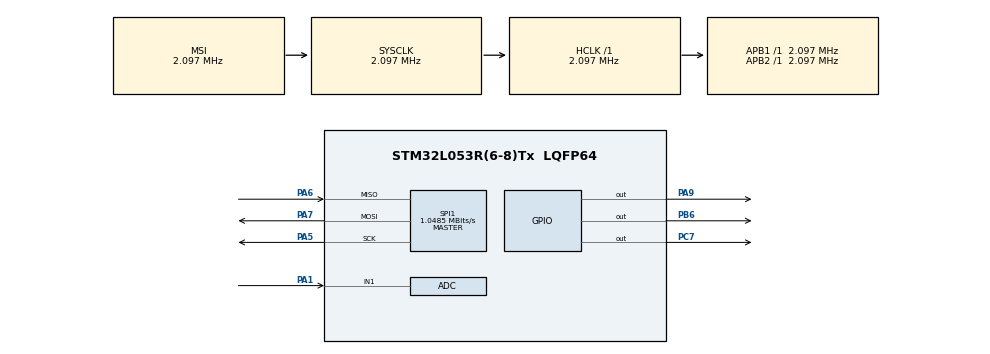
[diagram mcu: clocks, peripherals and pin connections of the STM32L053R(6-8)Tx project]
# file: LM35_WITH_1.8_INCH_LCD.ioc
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Mcu.Family=STM32L0
Mcu.Name=STM32L053R(6-8)Tx
Mcu.Package=LQFP64
PA1.Mode=IN1
PA1.Signal=ADC_IN1
PA13.Mode=Serial_Wire
PA13.Signal=SYS_SWDIO
PA14.Mode=Serial_Wire
PA14.Signal=SYS_SWCLK
PA5.Mode=Full_Duplex_Master
PA5.Signal=SPI1_SCK
PA6.Mode=Full_Duplex_Master
PA6.Signal=SPI1_MISO
PA7.Mode=Full_Duplex_Master
PA7.Signal=SPI1_MOSI
PA9.Signal=GPIO_Output
PB6.Signal=GPIO_Output
PC7.Signal=GPIO_Output
PH0-OSC_IN.Mode=HSE-External-Oscillator
PH0-OSC_IN.Signal=RCC_OSC_IN
PH1-OSC_OUT.Mode=HSE-External-Oscillator
PH1-OSC_OUT.Signal=RCC_OSC_OUT
ProjectManager.HeapSize=0x200
ProjectManager.StackSize=0x400
ProjectManager.TargetToolchain=STM32CubeIDE
RCC.AHBFreq_Value=2097000
RCC.APB1Freq_Value=2097000
RCC.APB1TimFreq_Value=2097000
RCC.APB2Freq_Value=2097000
RCC.APB2TimFreq_Value=2097000
RCC.HSE_VALUE=8000000
RCC.HSI16_VALUE=16000000
RCC.HSI48_VALUE=48000000
RCC.HSI_VALUE=16000000
RCC.LSE_VALUE=32768
RCC.MSI_VALUE=2097000
RCC.SYSCLKFreq_VALUE=2097000
RCC.VCOOutputFreq_Value=48000000
SPI1.CalculateBaudRate=1.0485 MBits/s
SPI1.Direction=SPI_DIRECTION_2LINES
SPI1.Mode=SPI_MODE_MASTER
SPI1.VirtualType=VM_MASTER
board=custom

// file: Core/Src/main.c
/* USER CODE BEGIN Header */
/**
  ******************************************************************************
  * @file           : main.c
  * @brief          : Main program body
  ******************************************************************************
  * @attention
  *
  * Copyright (c) 2023 STMicroelectronics.
  * All rights reserved.
  *
  * This software is licensed under terms that can be found in the LICENSE file
  * in the root directory of this software component.
  * If no LICENSE file comes with this software, it is provided AS-IS.
  *
  ******************************************************************************
  */
/* USER CODE END Header */
#include "main.h"

/* USER CODE BEGIN Includes */
#include "ST7735.h"
#include "GFX_FUNCTIONS.h"
/* USER CODE END Includes */

ADC_HandleTypeDef hadc;

SPI_HandleTypeDef hspi1;

/* USER CODE BEGIN PV */
uint32_t adc_res;
uint32_t tcelsius;
/* USER CODE END PV */

void SystemClock_Config(void);
static void MX_GPIO_Init(void);
static void MX_ADC_Init(void);
static void MX_SPI1_Init(void);

int main(void)
{

  /* MCU Configuration--------------------------------------------------------*/

  /* Reset of all peripherals, Initializes the Flash interface and the Systick. */
  HAL_Init();

  /* Configure the system clock */
  SystemClock_Config();

  /* Initialize all configured peripherals */
  MX_GPIO_Init();
  MX_ADC_Init();
  MX_SPI1_Init();
  /* USER CODE BEGIN 2 */
  ST7735_Init(0);
  fillScreen(YELLOW);
  /* USER CODE END 2 */

  /* Infinite loop */
  while (1)
  {

    /* USER CODE BEGIN 3 */
	          HAL_ADC_Start(&hadc);
	          if(  HAL_ADC_PollForConversion(&hadc, 100)==HAL_OK)
	          {
				  adc_res=HAL_ADC_GetValue(&hadc);
				  tcelsius=100.558-0.187364*adc_res;
				  ST7735_SetRotation(3);
				  char buffer[16];
				  if(tcelsius<=45&&tcelsius>=25)
				  {
				  sprintf(buffer, "Pixel    Temp now: %d'C", tcelsius);
				  ST7735_WriteString(1, 1, &buffer, Font_16x26, BLACK ,YELLOW);
				  }
			   }
  }
  /* USER CODE END 3 */
}

void SystemClock_Config(void)
{
  RCC_OscInitTypeDef RCC_OscInitStruct = {0};
  RCC_ClkInitTypeDef RCC_ClkInitStruct = {0};

  /** Configure the main internal regulator output voltage
  */
  __HAL_PWR_VOLTAGESCALING_CONFIG(PWR_REGULATOR_VOLTAGE_SCALE1);

  /** Initializes the RCC Oscillators according to the specified parameters
  * in the RCC_OscInitTypeDef structure.
  */
  RCC_OscInitStruct.OscillatorType = RCC_OSCILLATORTYPE_MSI;
  RCC_OscInitStruct.MSIState = RCC_MSI_ON;
  RCC_OscInitStruct.MSICalibrationValue = 0;
  RCC_OscInitStruct.MSIClockRange = RCC_MSIRANGE_5;
  RCC_OscInitStruct.PLL.PLLState = RCC_PLL_NONE;
  if (HAL_RCC_OscConfig(&RCC_OscInitStruct) != HAL_OK)
  {
    Error_Handler();
  }

  /** Initializes the CPU, AHB and APB buses clocks
  */
  RCC_ClkInitStruct.ClockType = RCC_CLOCKTYPE_HCLK|RCC_CLOCKTYPE_SYSCLK
                              |RCC_CLOCKTYPE_PCLK1|RCC_CLOCKTYPE_PCLK2;
  RCC_ClkInitStruct.SYSCLKSource = RCC_SYSCLKSOURCE_MSI;
  RCC_ClkInitStruct.AHBCLKDivider = RCC_SYSCLK_DIV1;
  RCC_ClkInitStruct.APB1CLKDivider = RCC_HCLK_DIV1;
  RCC_ClkInitStruct.APB2CLKDivider = RCC_HCLK_DIV1;

  if (HAL_RCC_ClockConfig(&RCC_ClkInitStruct, FLASH_LATENCY_0) != HAL_OK)
  {
    Error_Handler();
  }
}

static void MX_ADC_Init(void)
{

  ADC_ChannelConfTypeDef sConfig = {0};

  /** Configure the global features of the ADC (Clock, Resolution, Data Alignment and number of conversion)
  */
  hadc.Instance = ADC1;
  hadc.Init.OversamplingMode = DISABLE;
  hadc.Init.ClockPrescaler = ADC_CLOCK_SYNC_PCLK_DIV1;
  hadc.Init.Resolution = ADC_RESOLUTION_12B;
  hadc.Init.SamplingTime = ADC_SAMPLETIME_1CYCLE_5;
  hadc.Init.ScanConvMode = ADC_SCAN_DIRECTION_FORWARD;
  hadc.Init.DataAlign = ADC_DATAALIGN_RIGHT;
  hadc.Init.ContinuousConvMode = DISABLE;
  hadc.Init.DiscontinuousConvMode = DISABLE;
  hadc.Init.ExternalTrigConvEdge = ADC_EXTERNALTRIGCONVEDGE_NONE;
  hadc.Init.ExternalTrigConv = ADC_SOFTWARE_START;
  hadc.Init.DMAContinuousRequests = DISABLE;
  hadc.Init.EOCSelection = ADC_EOC_SINGLE_CONV;
  hadc.Init.Overrun = ADC_OVR_DATA_PRESERVED;
  hadc.Init.LowPowerAutoWait = DISABLE;
  hadc.Init.LowPowerFrequencyMode = ENABLE;
  hadc.Init.LowPowerAutoPowerOff = DISABLE;
  if (HAL_ADC_Init(&hadc) != HAL_OK)
  {
    Error_Handler();
  }

  /** Configure for the selected ADC regular channel to be converted.
  */
  sConfig.Channel = ADC_CHANNEL_1;
  sConfig.Rank = ADC_RANK_CHANNEL_NUMBER;
  if (HAL_ADC_ConfigChannel(&hadc, &sConfig) != HAL_OK)
  {
    Error_Handler();
  }

}

static void MX_SPI1_Init(void)
{

  /* SPI1 parameter configuration*/
  hspi1.Instance = SPI1;
  hspi1.Init.Mode = SPI_MODE_MASTER;
  hspi1.Init.Direction = SPI_DIRECTION_2LINES;
  hspi1.Init.DataSize = SPI_DATASIZE_8BIT;
  hspi1.Init.CLKPolarity = SPI_POLARITY_LOW;
  hspi1.Init.CLKPhase = SPI_PHASE_1EDGE;
  hspi1.Init.NSS = SPI_NSS_SOFT;
  hspi1.Init.BaudRatePrescaler = SPI_BAUDRATEPRESCALER_2;
  hspi1.Init.FirstBit = SPI_FIRSTBIT_MSB;
  hspi1.Init.TIMode = SPI_TIMODE_DISABLE;
  hspi1.Init.CRCCalculation = SPI_CRCCALCULATION_DISABLE;
  hspi1.Init.CRCPolynomial = 7;
  if (HAL_SPI_Init(&hspi1) != HAL_OK)
  {
    Error_Handler();
  }

}

static void MX_GPIO_Init(void)
{
  GPIO_InitTypeDef GPIO_InitStruct = {0};

  /* GPIO Ports Clock Enable */
  __HAL_RCC_GPIOH_CLK_ENABLE();
  __HAL_RCC_GPIOA_CLK_ENABLE();
  __HAL_RCC_GPIOC_CLK_ENABLE();
  __HAL_RCC_GPIOB_CLK_ENABLE();

  /*Configure GPIO pin Output Level */
  HAL_GPIO_WritePin(GPIOC, GPIO_PIN_7, GPIO_PIN_RESET);

  /*Configure GPIO pin Output Level */
  HAL_GPIO_WritePin(GPIOA, GPIO_PIN_9, GPIO_PIN_RESET);

  /*Configure GPIO pin Output Level */
  HAL_GPIO_WritePin(GPIOB, GPIO_PIN_6, GPIO_PIN_RESET);

  /*Configure GPIO pin : PC7 */
  GPIO_InitStruct.Pin = GPIO_PIN_7;
  GPIO_InitStruct.Mode = GPIO_MODE_OUTPUT_PP;
  GPIO_InitStruct.Pull = GPIO_NOPULL;
  GPIO_InitStruct.Speed = GPIO_SPEED_FREQ_LOW;
  HAL_GPIO_Init(GPIOC, &GPIO_InitStruct);

  /*Configure GPIO pin : PA9 */
  GPIO_InitStruct.Pin = GPIO_PIN_9;
  GPIO_InitStruct.Mode = GPIO_MODE_OUTPUT_PP;
  GPIO_InitStruct.Pull = GPIO_NOPULL;
  GPIO_InitStruct.Speed = GPIO_SPEED_FREQ_LOW;
  HAL_GPIO_Init(GPIOA, &GPIO_InitStruct);

  /*Configure GPIO pin : PB6 */
  GPIO_InitStruct.Pin = GPIO_PIN_6;
  GPIO_InitStruct.Mode = GPIO_MODE_OUTPUT_PP;
  GPIO_InitStruct.Pull = GPIO_NOPULL;
  GPIO_InitStruct.Speed = GPIO_SPEED_FREQ_LOW;
  HAL_GPIO_Init(GPIOB, &GPIO_InitStruct);

}

void Error_Handler(void)
{
  __disable_irq();
  while (1)
  {
  }
}
